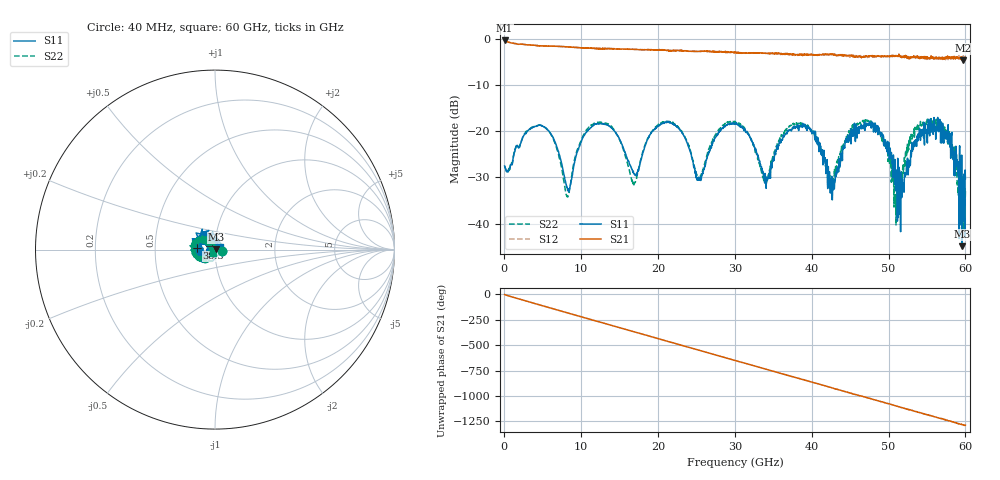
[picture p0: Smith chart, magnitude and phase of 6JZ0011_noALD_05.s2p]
! File created by 'SoftPlot +Plus+ Measurement Management Software'
! SoftPlot +Plus+ Measurement Management Software
! Start 40.000000 MHz  Stop 60.000000 GHz  Points 1601
# MHZ S RI R 50
! S-Parameter data, F S11 S21 S12 S22
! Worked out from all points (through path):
!   1601 points, 40 MHz to 60 GHz, reference 50 ohm
!   highest |S21| = -0.42 dB at 40 MHz (marker M1); lowest = -4.7 dB at 59.74 GHz (marker M2)
!   group delay of S21, straight-line fit = 59.5 ps
!   lowest |S11| = -44.9 dB at 59.59 GHz (marker M3), VSWR 1.01, Z = 50.6 + j0.158 ohm
!   |S11| at or under -10 dB: start of sweep to end of sweep
!   |S22| runs from -44.0 to -17.0 dB; largest |S21 - S12| = 0.084
!   S11 on the Smith chart (normalised r, x): 40 MHz: 1.09, -0.02; 38.3 GHz: 0.82, +0.02; 60 GHz: 1.05, +0.04
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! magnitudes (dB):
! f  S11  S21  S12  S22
! 40 MHz  -27.5  -0.4  -0.4  -27.6
! 4.874 GHz  -18.9  -1.6  -1.6  -18.9
! 8.247 GHz  -32.7  -1.8  -1.8  -34.2
! 10.05 GHz  -22.2  -2.0  -2.0  -21.9
! 13.79 GHz  -19.1  -2.2  -2.2  -18.7
! 16.87 GHz  -29.3  -2.3  -2.3  -31.6
! 20.05 GHz  -19.0  -2.5  -2.5  -18.5
! 22.9 GHz  -19.8  -2.6  -2.6  -19.7
! 25.34 GHz  -30.3  -2.8  -2.8  -30.3
! 30.02 GHz  -18.6  -2.9  -2.9  -17.9
! 33.99 GHz  -31.4  -3.2  -3.2  -31.1
! 38.3 GHz  -19.9  -3.6  -3.4  -18.3
! 40.03 GHz  -20.6  -3.4  -3.5  -20.0
! 42.72 GHz  -32.5  -3.4  -3.4  -32.0
! 46.77 GHz  -19.2  -3.8  -3.9  -18.2
! 50.03 GHz  -22.5  -3.8  -3.9  -25.1
! 51.16 GHz  -39.5  -3.8  -3.7  -38.7
! 53.18 GHz  -23.9  -4.0  -3.9  -21.0
! 56.25 GHz  -19.1  -4.3  -4.2  -18.9
! 59.59 GHz  -44.9  -4.5  -4.4  -31.0
! 59.74 GHz  -33.5  -4.7  -3.7  -41.5
! 60 GHz  -30.3  -4.5  -4.4  -33.0
